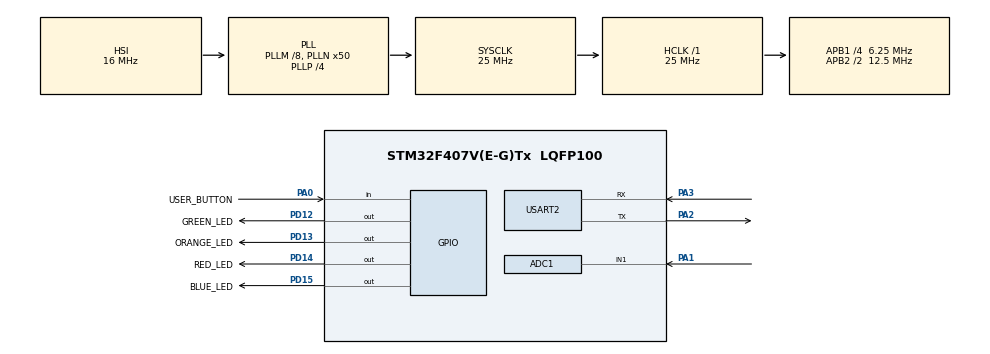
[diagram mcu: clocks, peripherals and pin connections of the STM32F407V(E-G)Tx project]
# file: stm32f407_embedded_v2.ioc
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ADC1.Channel-0\#ChannelRegularConversion=ADC_CHANNEL_1
ADC1.NbrOfConversionFlag=1
ADC1.Rank-0\#ChannelRegularConversion=1
ADC1.SamplingTime-0\#ChannelRegularConversion=ADC_SAMPLETIME_3CYCLES
ADC1.master=1
Mcu.Family=STM32F4
Mcu.Name=STM32F407V(E-G)Tx
Mcu.Package=LQFP100
NVIC.PriorityGroup=NVIC_PRIORITYGROUP_0
PA0-WKUP.GPIO_Label=USER_BUTTON
PA0-WKUP.Signal=GPIO_Input
PA1.Signal=ADCx_IN1
PA2.Mode=Asynchronous
PA2.Signal=USART2_TX
PA3.Mode=Asynchronous
PA3.Signal=USART2_RX
PD12.GPIO_Label=GREEN_LED
PD12.Signal=GPIO_Output
PD13.GPIO_Label=ORANGE_LED
PD13.Signal=GPIO_Output
PD14.GPIO_Label=RED_LED
PD14.Signal=GPIO_Output
PD15.GPIO_Label=BLUE_LED
PD15.Signal=GPIO_Output
ProjectManager.HeapSize=0x200
ProjectManager.StackSize=0x400
ProjectManager.TargetToolchain=STM32CubeIDE
RCC.48MHZClocksFreq_Value=14285714.285714285
RCC.AHBFreq_Value=25000000
RCC.APB1CLKDivider=RCC_HCLK_DIV4
RCC.APB1Freq_Value=6250000
RCC.APB1TimFreq_Value=12500000
RCC.APB2CLKDivider=RCC_HCLK_DIV2
RCC.APB2Freq_Value=12500000
RCC.APB2TimFreq_Value=25000000
RCC.CortexFreq_Value=25000000
RCC.HCLKFreq_Value=25000000
RCC.HSE_VALUE=8000000
RCC.HSI_VALUE=16000000
RCC.LSE_VALUE=32768
RCC.PLLM=8
RCC.PLLN=50
RCC.PLLP=RCC_PLLP_DIV4
RCC.PLLQ=7
RCC.SYSCLKFreq_VALUE=25000000
RCC.SYSCLKSource=RCC_SYSCLKSOURCE_PLLCLK
RCC.VCOOutputFreq_Value=100000000
SH.ADCx_IN1.0=ADC1_IN1,IN1
USART2.VirtualMode=VM_ASYNC
board=STM32F407G-DISC1

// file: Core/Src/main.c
/* USER CODE BEGIN Header */
/**
  ******************************************************************************
  * @file           : main.c
  * @brief          : Main program body
  ******************************************************************************
  * @attention
  *
  * Copyright (c) 2026 STMicroelectronics.
  * All rights reserved.
  *
  * This software is licensed under terms that can be found in the LICENSE file
  * in the root directory of this software component.
  * If no LICENSE file comes with this software, it is provided AS-IS.
  *
  ******************************************************************************
  */
/* USER CODE END Header */
#include "main.h"
#include "adc.h"
#include "usart.h"
#include "gpio.h"

/* USER CODE BEGIN Includes */

#include <stdio.h>
#include <stdbool.h>
#include <string.h>

/* USER CODE END Includes */

/* USER CODE BEGIN PTD */

typedef enum
{
	ADC_LOW,
	ADC_NORMAL,
	ADC_WARNING,
	ADC_ALARM
} SystemMode;

/* USER CODE END PTD */

/* USER CODE BEGIN PD */

#define ADC_SUM_COUNT	10
#define delay_time		1000
#define LOW_VOLTAGE		500
#define NORMAL_VOLTAGE	2500
#define WARNING_VOLTAGE 3000

/* USER CODE END PD */

/* USER CODE BEGIN PV */

uint32_t last_push_time = 0;

/* USER CODE END PV */

void SystemClock_Config(void);

/* USER CODE BEGIN 0 */

uint16_t read_adc_avage(void)
{
	uint32_t raw_sum = 0;
	uint8_t sum_value = 0;

	for (uint8_t i = 0; i < ADC_SUM_COUNT; i++)
	{
		HAL_ADC_Start(&hadc1);

		if (HAL_ADC_PollForConversion(&hadc1, 10) == HAL_OK)
		{
			raw_sum += HAL_ADC_GetValue(&hadc1);
			sum_value ++;
		}

		HAL_ADC_Stop(&hadc1);
	}

	if (sum_value == 0)
	{
		return 0;
	}

	return (uint16_t)(raw_sum/sum_value);
}

uint16_t to_mv(uint16_t value)
{
	return (uint16_t)(((uint32_t)value * 3300U) / 4095U);
}

bool debounce_check(void)
{
	if ((HAL_GetTick() - last_push_time) < 100)
	{
		return false;
	}

	return true;

}

bool button_press_check(void)
{
	if (HAL_GPIO_ReadPin(USER_BUTTON_GPIO_Port, USER_BUTTON_Pin) == GPIO_PIN_SET)
	{
		if (debounce_check())
		{
			last_push_time = HAL_GetTick();
			return true;

		}
	}

	return false;
}

void update_tresholds(uint16_t* max, uint16_t* min, uint16_t value)
{
	if (*min > value)
	{
		*min = value;
	}

	else if (*max < value)
	{
		*max = value;
	}
}

void reset_tresholds(uint16_t* max, uint16_t* min, uint16_t value)
{
	*max = value;
	*min = value;
}

void turnoff_all_leds(void)
{
	HAL_GPIO_WritePin(GREEN_LED_GPIO_Port, GREEN_LED_Pin, GPIO_PIN_RESET);
	HAL_GPIO_WritePin(ORANGE_LED_GPIO_Port, ORANGE_LED_Pin, GPIO_PIN_RESET);
	HAL_GPIO_WritePin(RED_LED_GPIO_Port, RED_LED_Pin, GPIO_PIN_RESET);
	HAL_GPIO_WritePin(BLUE_LED_GPIO_Port, BLUE_LED_Pin, GPIO_PIN_RESET);
}

SystemMode mode_sellector(uint16_t value)
{
	if (value <= LOW_VOLTAGE) return ADC_LOW;

	else if (value <= NORMAL_VOLTAGE) return ADC_NORMAL;

	else if (value <= WARNING_VOLTAGE) return ADC_WARNING;

	else return ADC_ALARM;

}

void update_leds(SystemMode mode)
{
	turnoff_all_leds();

	switch(mode)
	{
	case ADC_LOW:
		HAL_GPIO_WritePin(BLUE_LED_GPIO_Port, BLUE_LED_Pin, GPIO_PIN_SET);
		break;

	case ADC_NORMAL:
		HAL_GPIO_WritePin(GREEN_LED_GPIO_Port, GREEN_LED_Pin, GPIO_PIN_SET);
		break;

	case ADC_WARNING:
		HAL_GPIO_WritePin(ORANGE_LED_GPIO_Port, ORANGE_LED_Pin, GPIO_PIN_SET);
		break;

	case ADC_ALARM:
		HAL_GPIO_WritePin(RED_LED_GPIO_Port, RED_LED_Pin, GPIO_PIN_SET);
		break;
	}
}

const char* get_string_mode(SystemMode mode)
{
	switch (mode)
	{
	case ADC_LOW: return "LOW";

	case ADC_NORMAL: return "NORMAL";

	case ADC_WARNING: return "WARNING";

	case ADC_ALARM: return "ALARM";

	default: return "ERROR";
	}
}

const char* button_stuation(bool button)
{
	if (button) return "RESET_MIN_MAX";

	else return "NONE";
}

void send_uart(
		uint32_t time,
		uint16_t adc_raw,
		uint16_t adc_mv,
		SystemMode mod,
		uint16_t* max,
		uint16_t* min,
		bool button)
{

	char buffer[80];

	const char* mode_string = get_string_mode(mod);

	const char* button_event = button_stuation(button);

	int len = snprintf(
			buffer,
			sizeof(buffer),
			"%lu,%d,%d,%s,%d,%d,%s\r\n",
			(unsigned long)time,
			adc_raw,
			adc_mv,
			mode_string,
			*min,
			*max,
			button_event);

	HAL_UART_Transmit(&huart2, (uint8_t* )buffer, len, HAL_MAX_DELAY);

}

/* USER CODE END 0 */

int main(void)
{

  /* MCU Configuration--------------------------------------------------------*/

  /* Reset of all peripherals, Initializes the Flash interface and the Systick. */
  HAL_Init();

  /* Configure the system clock */
  SystemClock_Config();

  /* Initialize all configured peripherals */
  MX_GPIO_Init();
  MX_ADC1_Init();
  MX_USART2_UART_Init();
  /* USER CODE BEGIN 2 */

  char header[] = "timestamp_ms,adc_raw,adc_mv,state,min_mv,max_mv,button_event\r\n";
  HAL_UART_Transmit(&huart2, (uint8_t* )header, strlen(header), HAL_MAX_DELAY);

  uint32_t last_time = 0;
  uint16_t adc_avage = 0;
  uint16_t adc_mv = 0;
  uint16_t max_mv = 0;
  uint16_t min_mv = 0;

  uint32_t now = 0;

  SystemMode mode;

  bool button;

  bool min_max_initalized = true;

  /* USER CODE END 2 */

  /* Infinite loop */
  while (1)
  {

    /* USER CODE BEGIN 3 */

	  now = HAL_GetTick();

	  if ((now - last_time) > delay_time)
	  {
		  button = button_press_check();
		  adc_avage = read_adc_avage();
		  adc_mv = to_mv(adc_avage);

		  if(min_max_initalized || button)
		  {
			  reset_tresholds(&max_mv, &min_mv, adc_mv);
			  min_max_initalized = false;
		  }
		  else
		  {
			  update_tresholds(&max_mv, &min_mv, adc_mv);
		  }

		  mode = mode_sellector(adc_mv);
		  update_leds(mode);

		  send_uart(now, adc_avage, adc_mv, mode, &max_mv, &min_mv, button);

		  last_time = now;

	  }
  }
  /* USER CODE END 3 */
}

void SystemClock_Config(void)
{
  RCC_OscInitTypeDef RCC_OscInitStruct = {0};
  RCC_ClkInitTypeDef RCC_ClkInitStruct = {0};

  /** Configure the main internal regulator output voltage
  */
  __HAL_RCC_PWR_CLK_ENABLE();
  __HAL_PWR_VOLTAGESCALING_CONFIG(PWR_REGULATOR_VOLTAGE_SCALE1);

  /** Initializes the RCC Oscillators according to the specified parameters
  * in the RCC_OscInitTypeDef structure.
  */
  RCC_OscInitStruct.OscillatorType = RCC_OSCILLATORTYPE_HSI;
  RCC_OscInitStruct.HSIState = RCC_HSI_ON;
  RCC_OscInitStruct.HSICalibrationValue = RCC_HSICALIBRATION_DEFAULT;
  RCC_OscInitStruct.PLL.PLLState = RCC_PLL_ON;
  RCC_OscInitStruct.PLL.PLLSource = RCC_PLLSOURCE_HSI;
  RCC_OscInitStruct.PLL.PLLM = 8;
  RCC_OscInitStruct.PLL.PLLN = 50;
  RCC_OscInitStruct.PLL.PLLP = RCC_PLLP_DIV4;
  RCC_OscInitStruct.PLL.PLLQ = 7;
  if (HAL_RCC_OscConfig(&RCC_OscInitStruct) != HAL_OK)
  {
    Error_Handler();
  }

  /** Initializes the CPU, AHB and APB buses clocks
  */
  RCC_ClkInitStruct.ClockType = RCC_CLOCKTYPE_HCLK|RCC_CLOCKTYPE_SYSCLK
                              |RCC_CLOCKTYPE_PCLK1|RCC_CLOCKTYPE_PCLK2;
  RCC_ClkInitStruct.SYSCLKSource = RCC_SYSCLKSOURCE_PLLCLK;
  RCC_ClkInitStruct.AHBCLKDivider = RCC_SYSCLK_DIV1;
  RCC_ClkInitStruct.APB1CLKDivider = RCC_HCLK_DIV4;
  RCC_ClkInitStruct.APB2CLKDivider = RCC_HCLK_DIV2;

  if (HAL_RCC_ClockConfig(&RCC_ClkInitStruct, FLASH_LATENCY_0) != HAL_OK)
  {
    Error_Handler();
  }
}

void Error_Handler(void)
{
  __disable_irq();
  while (1)
  {
  }
}
